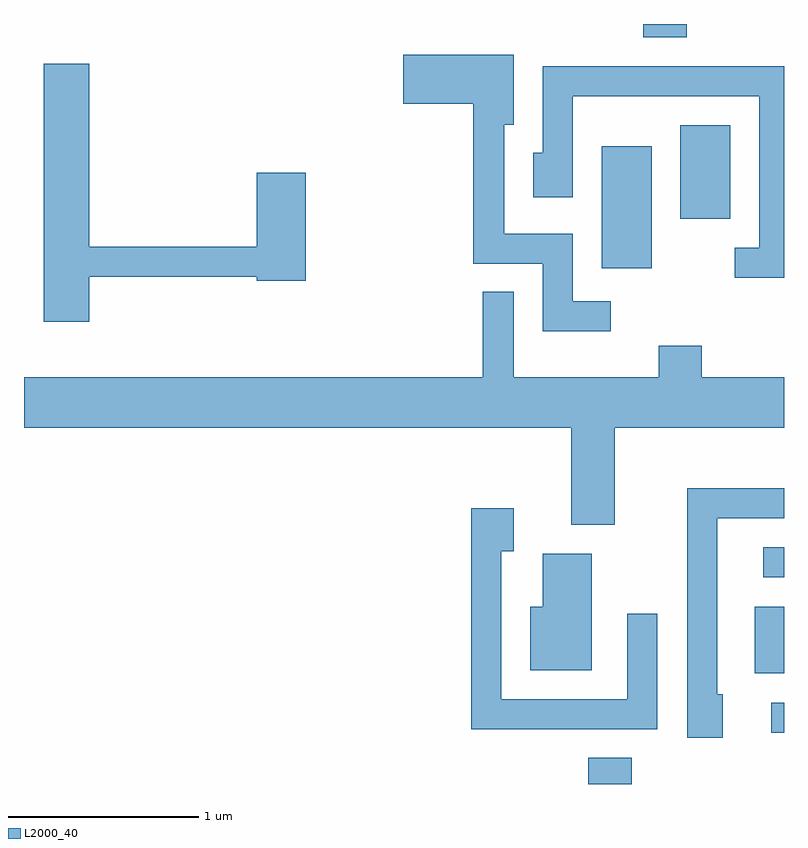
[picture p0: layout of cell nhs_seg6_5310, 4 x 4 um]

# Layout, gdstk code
import gdstk
lib = gdstk.Library(unit=1e-6, precision=1e-09)
def R(c, l, rs):  # rectangles x0, y0, x1, y1
    for r in rs: c.add(gdstk.rectangle(r[:2], r[2:], *l))
def P(c, l, *ps):  # polygons
    for p in ps: c.add(gdstk.Polygon(p, *l))
L2000_40 = (2000, 40)

nhs_seg6_5310 = lib.new_cell('nhs_seg6_5310')
R(nhs_seg6_5310, L2000_40, [(350.581,1548.162,350.809,1548.299), (351.543,1548.431,351.611,1548.589), (351.456,1548.746,351.611,1549.094), (351.503,1549.251,351.611,1549.409), (350.651,1550.876,350.914,1551.519), (351.066,1551.136,351.329,1551.629), (350.871,1552.091,351.099,1552.162)])
P(nhs_seg6_5310, L2000_40, [(350.698,1550.704),(350.499,1550.704),(350.499,1551.059),(350.139,1551.059),(350.139,1551.631),(350.189,1551.631),(350.189,1551.999),(349.606,1551.999),(349.606,1551.741),(349.976,1551.741),(349.976,1550.901),(350.341,1550.901),(350.341,1550.546),(350.698,1550.546)],
  [(347.954,1550.831),(348.836,1550.831),(348.836,1550.811),(349.094,1550.811),(349.094,1551.379),(348.836,1551.379),(348.836,1550.989),(347.954,1550.989),(347.954,1551.954),(347.716,1551.954),(347.716,1550.596),(347.954,1550.596)],
  [(351.611,1551.939),(350.341,1551.939),(350.341,1551.484),(350.291,1551.484),(350.291,1551.251),(350.499,1551.251),(350.499,1551.781),(351.481,1551.781),(351.481,1550.984),(351.353,1550.984),(351.353,1550.826),(351.611,1550.826)],
  [(350.719,1550.036),(351.611,1550.036),(351.611,1550.304),(351.179,1550.304),(351.179,1550.469),(350.951,1550.469),(350.951,1550.304),(350.189,1550.304),(350.189,1550.753),(350.026,1550.753),(350.026,1550.304),(347.611,1550.304),(347.611,1550.036),(350.491,1550.036),(350.491,1549.526),(350.719,1549.526)],
  [(351.289,1548.634),(351.259,1548.634),(351.259,1549.561),(351.611,1549.561),(351.611,1549.719),(351.101,1549.719),(351.101,1548.406),(351.289,1548.406)],
  [(350.944,1549.058),(350.786,1549.058),(350.786,1548.609),(350.124,1548.609),(350.124,1549.386),(350.189,1549.386),(350.189,1549.614),(349.966,1549.614),(349.966,1548.451),(350.944,1548.451)],
  [(350.599,1549.374),(350.341,1549.374),(350.341,1549.094),(350.276,1549.094),(350.276,1548.761),(350.599,1548.761)])

lib.write_gds('nhs_seg6_5310.gds')
